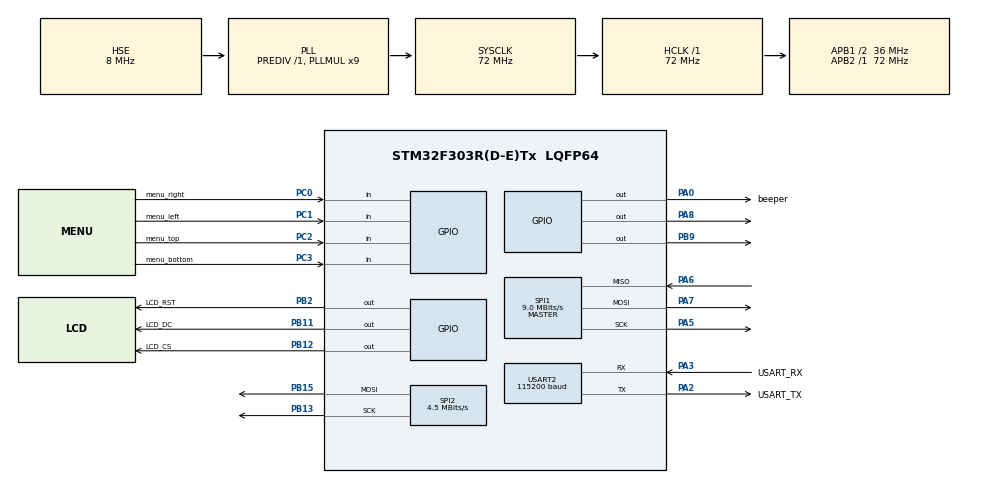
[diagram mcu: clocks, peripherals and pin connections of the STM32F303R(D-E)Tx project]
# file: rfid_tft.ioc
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Mcu.Family=STM32F3
Mcu.Name=STM32F303R(D-E)Tx
Mcu.Package=LQFP64
NVIC.PriorityGroup=NVIC_PRIORITYGROUP_0
PA0.GPIO_Label=beeper
PA0.Signal=GPIO_Output
PA13.GPIO_Label=TMS
PA13.Mode=Serial_Wire
PA13.Signal=SYS_JTMS-SWDIO
PA14.GPIO_Label=TCK
PA14.Mode=Serial_Wire
PA14.Signal=SYS_JTCK-SWCLK
PA2.GPIO_Label=USART_TX
PA2.GPIO_Mode=GPIO_MODE_AF_PP
PA2.GPIO_PuPd=GPIO_NOPULL
PA2.GPIO_Speed=GPIO_SPEED_FREQ_LOW
PA2.Mode=Asynchronous
PA2.Signal=USART2_TX
PA3.GPIO_Label=USART_RX
PA3.GPIO_Mode=GPIO_MODE_AF_PP
PA3.GPIO_PuPd=GPIO_NOPULL
PA3.GPIO_Speed=GPIO_SPEED_FREQ_LOW
PA3.Mode=Asynchronous
PA3.Signal=USART2_RX
PA5.Mode=Full_Duplex_Master
PA5.Signal=SPI1_SCK
PA6.Mode=Full_Duplex_Master
PA6.Signal=SPI1_MISO
PA7.Mode=Full_Duplex_Master
PA7.Signal=SPI1_MOSI
PA8.Signal=GPIO_Output
PB11.GPIO_Label=LCD_DC
PB11.Signal=GPIO_Output
PB12.GPIO_Label=LCD_CS
PB12.Signal=GPIO_Output
PB13.Mode=TX_Only_Simplex_Unidirect_Master
PB13.Signal=SPI2_SCK
PB15.Mode=TX_Only_Simplex_Unidirect_Master
PB15.Signal=SPI2_MOSI
PB2.GPIO_Label=LCD_RST
PB2.Signal=GPIO_Output
PB3.GPIO_Label=SWO
PB3.Signal=SYS_JTDO-TRACESWO
PB9.Signal=GPIO_Output
PC0.GPIO_Label=menu_right
PC0.Signal=GPIO_Input
PC1.GPIO_Label=menu_left
PC1.Signal=GPIO_Input
PC14-OSC32_IN.Signal=RCC_OSC32_IN
PC15-OSC32_OUT.Signal=RCC_OSC32_OUT
PC2.GPIO_Label=menu_top
PC2.Signal=GPIO_Input
PC3.GPIO_Label=menu_bottom
PC3.Signal=GPIO_Input
PF0-OSC_IN.Mode=HSE-External-Oscillator
PF0-OSC_IN.Signal=RCC_OSC_IN
PF1-OSC_OUT.Mode=HSE-External-Oscillator
PF1-OSC_OUT.Signal=RCC_OSC_OUT
ProjectManager.HeapSize=0x200
ProjectManager.StackSize=0x400
ProjectManager.TargetToolchain=STM32CubeIDE
RCC.AHBFreq_Value=72000000
RCC.APB1CLKDivider=RCC_HCLK_DIV2
RCC.APB1Freq_Value=36000000
RCC.APB1TimFreq_Value=72000000
RCC.APB2Freq_Value=72000000
RCC.APB2TimFreq_Value=72000000
RCC.CortexFreq_Value=72000000
RCC.HCLKFreq_Value=72000000
RCC.HSE_VALUE=8000000
RCC.HSI_VALUE=8000000
RCC.LSE_VALUE=32768
RCC.PLLM=8
RCC.PLLMUL=RCC_PLL_MUL9
RCC.PLLN=336
RCC.PLLP=RCC_PLLP_DIV4
RCC.PLLQ=7
RCC.PLLSourceVirtual=RCC_PLLSOURCE_HSE
RCC.RCC_PLLsource_Clock_Source_FROM_HSE=RCC_HSE_PREDIV_DIV2
RCC.SYSCLKFreq_VALUE=72000000
RCC.SYSCLKSourceVirtual=RCC_SYSCLKSOURCE_PLLCLK
RCC.USBFreq_Value=72000000
SPI1.BaudRatePrescaler=SPI_BAUDRATEPRESCALER_8
SPI1.CalculateBaudRate=9.0 MBits/s
SPI1.DataSize=SPI_DATASIZE_8BIT
SPI1.Direction=SPI_DIRECTION_2LINES
SPI1.Mode=SPI_MODE_MASTER
SPI1.VirtualType=VM_MASTER
SPI2.BaudRatePrescaler=SPI_BAUDRATEPRESCALER_8
SPI2.CalculateBaudRate=4.5 MBits/s
SPI2.DataSize=SPI_DATASIZE_8BIT
SPI2.Direction=SPI_DIRECTION_2LINES
SPI2.Mode=SPI_MODE_MASTER
SPI2.NSSPMode=SPI_NSS_PULSE_DISABLE
SPI2.VirtualType=VM_MASTER
USART2.BaudRate=115200
USART2.VirtualMode-Asynchronous=VM_ASYNC
board=NUCLEO-F303RE

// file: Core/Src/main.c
/* USER CODE BEGIN Header */
/**
  ******************************************************************************
  * @file           : main.c
  * @brief          : Main program body
  ******************************************************************************
  * @attention
  *
  * Copyright (c) 2026 STMicroelectronics.
  * All rights reserved.
  *
  * This software is licensed under terms that can be found in the LICENSE file
  * in the root directory of this software component.
  * If no LICENSE file comes with this software, it is provided AS-IS.
  *
  ******************************************************************************
  */
/* USER CODE END Header */
#include "main.h"
#include "spi.h"
#include "usart.h"
#include "gpio.h"

/* USER CODE BEGIN Includes */
#include "lcd_init.h"
#include "lcd_run.h"
#include "button_debounce.h"
#include "cards_and_tags.h"
#include "lcd_beep_ui.h"
/* USER CODE END Includes */

void SystemClock_Config(void);

/* USER CODE BEGIN 0 */
void HAL_SPI_TxCpltCallback(SPI_HandleTypeDef *hspi)				// funkcja, która zostanie automatycznie wywołana po zakończeniu transmisji przez SPI.
{
	if (hspi == &hspi1)
	{
		lcd_transfer_done();
	}
}
/* USER CODE END 0 */

int main(void)
{

  /* USER CODE BEGIN 1 */
	Button btn_right;
	Button btn_left;
	Button btn_up;
	Button btn_down;

	// inicjalizacja przycisków
	    btn_right = (Button){menu_right_GPIO_Port, menu_right_Pin, BTN_IDLE, 0, 0};
	    btn_left  = (Button){menu_left_GPIO_Port,  menu_left_Pin,  BTN_IDLE, 0, 0};
	    btn_up    = (Button){menu_top_GPIO_Port,   menu_top_Pin,   BTN_IDLE, 0, 0};
	    btn_down  = (Button){menu_bottom_GPIO_Port,menu_bottom_Pin,BTN_IDLE, 0, 0};

	    uint8_t state = 0;
  /* USER CODE END 1 */

  /* MCU Configuration--------------------------------------------------------*/

  /* Reset of all peripherals, Initializes the Flash interface and the Systick. */
  HAL_Init();

  /* Configure the system clock */
  SystemClock_Config();

  /* Initialize all configured peripherals */
  MX_GPIO_Init();
  MX_USART2_UART_Init();
  MX_SPI1_Init();
  MX_SPI2_Init();

  /* Infinite loop */
  /* USER CODE BEGIN WHILE */
  MFRC522_Init();
  lcd_init();

  while (1)
  {
    /* USER CODE END WHILE */

    /* USER CODE BEGIN 3 */
	  button_update(&btn_right);
	  button_update(&btn_left);
	  button_update(&btn_up);
	  button_update(&btn_down);

	  Read_data_from_rfid();

	 if (btn_right.pressed_event)
	 {
	     btn_right.pressed_event = 0;
	     show_cards();

	 }
	 if (btn_left.pressed_event)
		 {
		 	 btn_left.pressed_event = 0;

		 	lcd_draw_beep_mode_ui();

		 }
	 if (btn_up.pressed_event)
	 		 {
		 	 btn_up.pressed_event = 0;

	 		 	lcd_toggle_beep_mode();

	 		 }
  }
  /* USER CODE END 3 */
}

void SystemClock_Config(void)
{
  RCC_OscInitTypeDef RCC_OscInitStruct = {0};
  RCC_ClkInitTypeDef RCC_ClkInitStruct = {0};
  RCC_PeriphCLKInitTypeDef PeriphClkInit = {0};

  /** Initializes the RCC Oscillators according to the specified parameters
  * in the RCC_OscInitTypeDef structure.
  */
  RCC_OscInitStruct.OscillatorType = RCC_OSCILLATORTYPE_HSE;
  RCC_OscInitStruct.HSEState = RCC_HSE_ON;
  RCC_OscInitStruct.HSIState = RCC_HSI_ON;
  RCC_OscInitStruct.PLL.PLLState = RCC_PLL_ON;
  RCC_OscInitStruct.PLL.PLLSource = RCC_PLLSOURCE_HSE;
  RCC_OscInitStruct.PLL.PLLMUL = RCC_PLL_MUL9;
  RCC_OscInitStruct.PLL.PREDIV = RCC_PREDIV_DIV1;
  if (HAL_RCC_OscConfig(&RCC_OscInitStruct) != HAL_OK)
  {
    Error_Handler();
  }

  /** Initializes the CPU, AHB and APB buses clocks
  */
  RCC_ClkInitStruct.ClockType = RCC_CLOCKTYPE_HCLK|RCC_CLOCKTYPE_SYSCLK
                              |RCC_CLOCKTYPE_PCLK1|RCC_CLOCKTYPE_PCLK2;
  RCC_ClkInitStruct.SYSCLKSource = RCC_SYSCLKSOURCE_PLLCLK;
  RCC_ClkInitStruct.AHBCLKDivider = RCC_SYSCLK_DIV1;
  RCC_ClkInitStruct.APB1CLKDivider = RCC_HCLK_DIV2;
  RCC_ClkInitStruct.APB2CLKDivider = RCC_HCLK_DIV1;

  if (HAL_RCC_ClockConfig(&RCC_ClkInitStruct, FLASH_LATENCY_2) != HAL_OK)
  {
    Error_Handler();
  }
  PeriphClkInit.PeriphClockSelection = RCC_PERIPHCLK_USART2;
  PeriphClkInit.Usart2ClockSelection = RCC_USART2CLKSOURCE_PCLK1;
  if (HAL_RCCEx_PeriphCLKConfig(&PeriphClkInit) != HAL_OK)
  {
    Error_Handler();
  }
}

void Error_Handler(void)
{
  __disable_irq();
  while (1)
  {
  }
}
